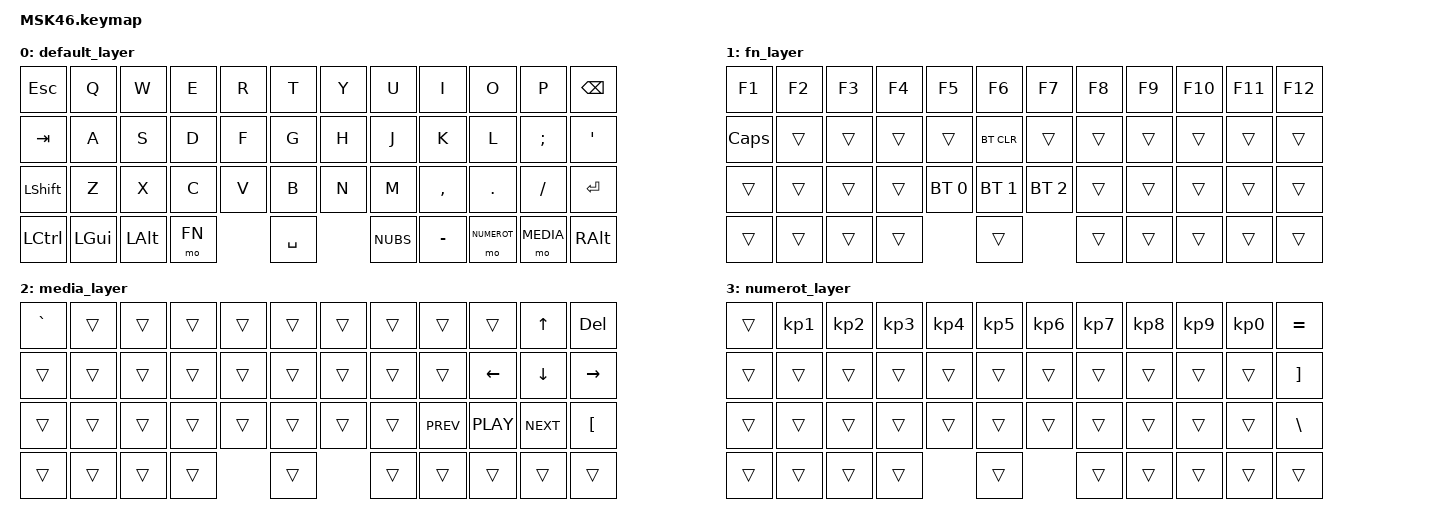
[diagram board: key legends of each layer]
#include <behaviors.dtsi>
#include <dt-bindings/zmk/keys.h>
#include <dt-bindings/zmk/bt.h>

#define DEFAULT 0
#define FN   1
#define MEDIA   2
#define NUMEROT 3

/ {
    keymap {
        compatible = "zmk,keymap";

        default_layer {
            bindings = <
                &kp ESC     &kp Q       &kp W       &kp E       &kp R       &kp T       &kp Y       &kp U       &kp I       &kp O       &kp P       &kp BSPC
                &kp TAB     &kp A       &kp S       &kp D       &kp F       &kp G       &kp H       &kp J       &kp K       &kp L       &kp SEMI    &kp SQT
                &kp LSHIFT  &kp Z       &kp X       &kp C       &kp V       &kp B       &kp N       &kp M       &kp COMMA   &kp DOT     &kp FSLH    &kp RET
                &kp LCTRL   &kp LGUI    &kp LALT    &mo FN                  &kp SPACE               &kp NUBS    &kp MINUS   &mo NUMEROT &mo MEDIA   &kp RALT
            >;
        };

        fn_layer {
            bindings = <
                &kp F1      &kp F2      &kp F3      &kp F4      &kp F5       &kp F6       &kp F7       &kp F8      &kp F9      &kp F10     &kp F11     &kp F12
                &kp CAPS    &trans      &trans      &trans      &trans       &bt BT_CLR   &trans       &trans      &trans      &trans      &trans      &trans
                &trans      &trans      &trans      &trans      &bt BT_SEL 0 &bt BT_SEL 1 &bt BT_SEL 2 &trans      &trans      &trans      &trans      &trans
                &trans      &trans      &trans      &trans                   &trans                    &trans      &trans      &trans      &trans      &trans
            >;
        };
        
        media_layer {
            bindings = <
                &kp GRAVE   &trans      &trans      &trans      &trans      &trans      &trans      &trans      &trans      &trans      &kp UP      &kp DEL
                &trans      &trans      &trans      &trans      &trans      &trans      &trans      &trans      &trans      &kp LEFT    &kp DOWN    &kp RIGHT
                &trans      &trans      &trans      &trans      &trans      &trans      &trans      &trans      &kp C_PREV  &kp C_PLAY  &kp C_NEXT  &kp LBKT
                &trans      &trans      &trans      &trans                  &trans                  &trans      &trans      &trans      &trans      &trans
            >;
        };

        numerot_layer {
            bindings = <
                &trans      &kp KP_N1   &kp KP_N2   &kp KP_N3   &kp KP_N4   &kp KP_N5   &kp KP_N6       &kp KP_N7   &kp KP_N8   &kp KP_N9   &kp KP_N0   &kp EQUAL
                &trans      &trans      &trans      &trans      &trans      &trans      &trans      &trans      &trans      &trans      &trans      &kp RBKT
                &trans      &trans      &trans      &trans      &trans      &trans      &trans      &trans      &trans      &trans      &trans      &kp BSLH
                &trans      &trans      &trans      &trans                  &trans                  &trans      &trans      &trans      &trans      &trans
            >;
        };
    };
};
